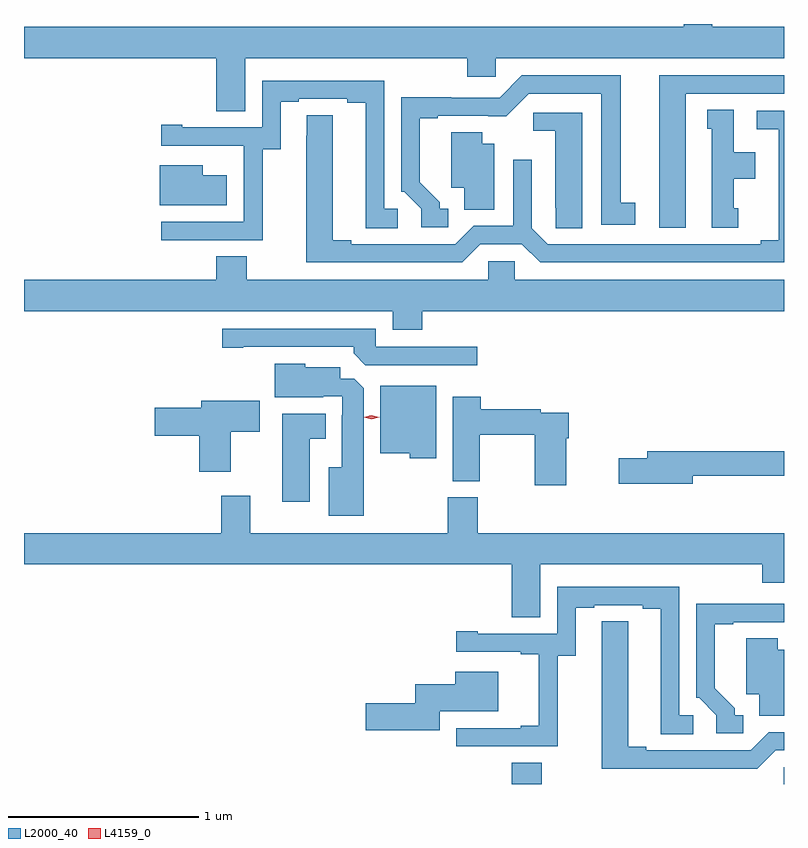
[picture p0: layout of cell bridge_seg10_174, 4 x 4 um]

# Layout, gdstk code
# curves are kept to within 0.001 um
import gdstk
lib = gdstk.Library(unit=1e-6, precision=1e-09)
def R(c, l, rs):  # rectangles x0, y0, x1, y1
    for r in rs: c.add(gdstk.rectangle(r[:2], r[2:], *l))
def P(c, l, *ps):  # polygons
    for p in ps: c.add(gdstk.Polygon(p, *l))
L2000_40 = (2000, 40)
L4159_0 = (4159, 0)

bridge_seg10_174 = lib.new_cell('bridge_seg10_174')
R(bridge_seg10_174, L2000_40, [(192.521,1288.503,192.681,1288.616), (193.953,1288.503,193.955,1288.59)])
P(bridge_seg10_174, L2000_40, [(191.119,1292.324),(192.287,1292.324),(192.287,1292.226),(192.438,1292.226),(192.438,1292.324),(193.955,1292.324),(193.955,1292.488),(193.578,1292.488),(193.578,1292.503),(193.427,1292.503),(193.427,1292.488),(189.955,1292.488),(189.955,1292.324),(190.967,1292.324),(190.967,1292.044),(191.119,1292.044)],
  [(193.438,1292.136),(193.955,1292.136),(193.955,1292.232),(193.298,1292.232),(193.298,1291.431),(193.438,1291.431)],
  [(192.187,1291.53),(192.142,1291.53),(192.142,1291.565),(192.037,1291.67),(192.037,1292.007),(192.133,1292.007),(192.133,1292.019),(192.494,1292.018),(192.612,1292.136),(192.992,1292.136),(192.992,1291.446),(193.171,1291.446),(193.171,1291.562),(193.096,1291.562),(193.096,1292.232),(192.576,1292.232),(192.459,1292.115),(192.203,1292.115),(192.203,1292.117),(191.94,1292.117),(191.94,1291.62),(191.955,1291.62),(192.045,1291.53),(192.045,1291.434),(192.187,1291.434)],
  [(191.211,1291.843),(191.305,1291.843),(191.305,1292.094),(191.401,1292.094),(191.401,1292.109),(191.657,1292.109),(191.657,1292.089),(191.753,1292.089),(191.753,1291.429),(191.923,1291.429),(191.923,1291.53),(191.85,1291.53),(191.85,1292.205),(191.208,1292.205),(191.208,1291.959),(190.789,1291.959),(190.789,1291.972),(190.677,1291.972),(190.677,1291.863),(191.111,1291.863),(191.111,1291.862),(191.112,1291.862),(191.112,1291.461),(190.677,1291.461),(190.677,1291.365),(191.211,1291.365)],
  [(193.714,1291.533),(193.69,1291.533),(193.69,1291.688),(193.804,1291.688),(193.804,1291.828),(193.69,1291.828),(193.69,1292.051),(193.55,1292.051),(193.55,1291.953),(193.574,1291.953),(193.574,1291.431),(193.714,1291.431)],
  [(192.357,1291.344),(192.575,1291.344),(192.671,1291.248),(193.955,1291.248),(193.955,1292.046),(193.812,1292.046),(193.812,1291.95),(193.928,1291.95),(193.928,1291.364),(193.832,1291.364),(193.832,1291.344),(192.711,1291.344),(192.627,1291.428),(192.627,1291.789),(192.531,1291.789),(192.531,1291.44),(192.321,1291.44),(192.225,1291.344),(191.677,1291.344),(191.677,1291.364),(191.581,1291.364),(191.581,1292.024),(191.442,1292.024),(191.441,1291.248),(192.261,1291.248)],
  [(192.892,1292.037),(192.636,1292.037),(192.636,1291.94),(192.752,1291.94),(192.752,1291.537),(192.753,1291.537),(192.753,1291.429),(192.892,1291.429)],
  [(192.43,1291.873),(192.367,1291.873),(192.367,1291.934),(192.203,1291.934),(192.203,1291.64),(192.272,1291.64),(192.272,1291.525),(192.43,1291.525)],
  [(191.023,1291.708),(190.897,1291.708),(190.897,1291.759),(190.67,1291.759),(190.67,1291.55),(191.023,1291.55)],
  [(192.05,1290.992),(193.955,1290.992),(193.955,1291.156),(192.537,1291.156),(192.537,1291.254),(192.399,1291.254),(192.399,1291.156),(191.127,1291.156),(191.127,1291.28),(190.967,1291.28),(190.967,1291.156),(189.955,1291.156),(189.955,1290.992),(191.897,1290.992),(191.897,1290.893),(192.05,1290.893)],
  [(192.34,1290.804),(191.805,1290.804),(191.805,1290.9),(190.998,1290.9),(190.998,1290.799),(191.11,1290.799),(191.11,1290.804),(191.69,1290.804),(191.69,1290.77),(191.751,1290.708),(192.34,1290.708)],
  [(191.743,1290.587),(191.694,1290.636),(191.62,1290.636),(191.62,1290.697),(191.436,1290.697),(191.436,1290.715),(191.276,1290.715),(191.276,1290.539),(191.531,1290.539),(191.531,1290.543),(191.631,1290.543),(191.631,1290.443),(191.627,1290.443),(191.627,1290.169),(191.558,1290.169),(191.558,1289.915),(191.743,1289.915)],
  [(192.124,1290.598),(191.831,1290.598),(191.831,1290.245),(191.985,1290.245),(191.985,1290.218),(192.124,1290.218)],
  [(192.808,1290.323),(192.821,1290.323),(192.821,1290.456),(192.674,1290.456),(192.674,1290.476),(192.359,1290.476),(192.359,1290.541),(192.212,1290.541),(192.212,1290.097),(192.354,1290.097),(192.354,1290.34),(192.643,1290.34),(192.643,1290.075),(192.808,1290.075)],
  [(191.044,1290.358),(191.197,1290.358),(191.197,1290.52),(190.889,1290.52),(190.889,1290.482),(190.644,1290.482),(190.644,1290.335),(190.877,1290.335),(190.877,1290.147),(191.044,1290.147)],
  [(191.458,1290.32),(191.542,1290.32),(191.542,1290.451),(191.315,1290.451),(191.315,1289.988),(191.458,1289.988)],
  [(193.474,1290.126),(193.955,1290.126),(193.955,1290.254),(193.235,1290.254),(193.235,1290.218),(193.086,1290.218),(193.086,1290.083),(193.474,1290.083)],
  [(192.184,1290.012),(192.184,1289.824),(191.146,1289.824),(191.146,1290.019),(190.994,1290.019),(190.994,1289.824),(189.955,1289.824),(189.955,1289.66),(192.521,1289.66),(192.521,1289.38),(192.673,1289.38),(192.673,1289.66),(193.841,1289.66),(193.841,1289.562),(193.955,1289.562),(193.955,1289.824),(192.344,1289.824),(192.344,1290.012)],
  [(192.765,1289.179),(192.859,1289.179),(192.859,1289.43),(192.955,1289.43),(192.955,1289.445),(193.211,1289.445),(193.211,1289.425),(193.307,1289.425),(193.307,1288.765),(193.477,1288.765),(193.477,1288.866),(193.404,1288.866),(193.404,1289.541),(192.762,1289.541),(192.762,1289.295),(192.343,1289.295),(192.343,1289.308),(192.231,1289.308),(192.231,1289.199),(192.569,1289.199),(192.569,1289.187),(192.665,1289.187),(192.665,1288.81),(192.569,1288.81),(192.569,1288.797),(192.231,1288.797),(192.231,1288.701),(192.765,1288.701)],
  [(193.741,1288.866),(193.696,1288.866),(193.696,1288.901),(193.591,1289.006),(193.591,1289.343),(193.687,1289.343),(193.687,1289.355),(193.955,1289.354),(193.955,1289.451),(193.757,1289.451),(193.757,1289.453),(193.494,1289.453),(193.494,1288.956),(193.509,1288.956),(193.599,1288.866),(193.599,1288.77),(193.741,1288.77)],
  [(193.911,1288.68),(193.955,1288.68),(193.955,1288.776),(193.875,1288.776),(193.779,1288.68),(193.231,1288.68),(193.231,1288.7),(193.135,1288.7),(193.135,1289.36),(192.996,1289.36),(192.995,1288.584),(193.815,1288.584)],
  [(193.955,1289.209),(193.921,1289.209),(193.921,1289.27),(193.757,1289.27),(193.757,1288.976),(193.826,1288.976),(193.826,1288.861),(193.955,1288.861)],
  [(192.142,1288.886),(192.451,1288.886),(192.451,1289.095),(192.224,1289.095),(192.224,1289.027),(192.014,1289.027),(192.014,1288.928),(191.754,1288.928),(191.754,1288.786),(192.142,1288.786)])
P(bridge_seg10_174, L4159_0, [(191.784,1290.423),(191.743,1290.432),(191.743,1290.433),(191.743,1290.433),(191.783,1290.443),(191.824,1290.434),(191.824,1290.434),(191.824,1290.434)])

lib.write_gds('bridge_seg10_174.gds')
